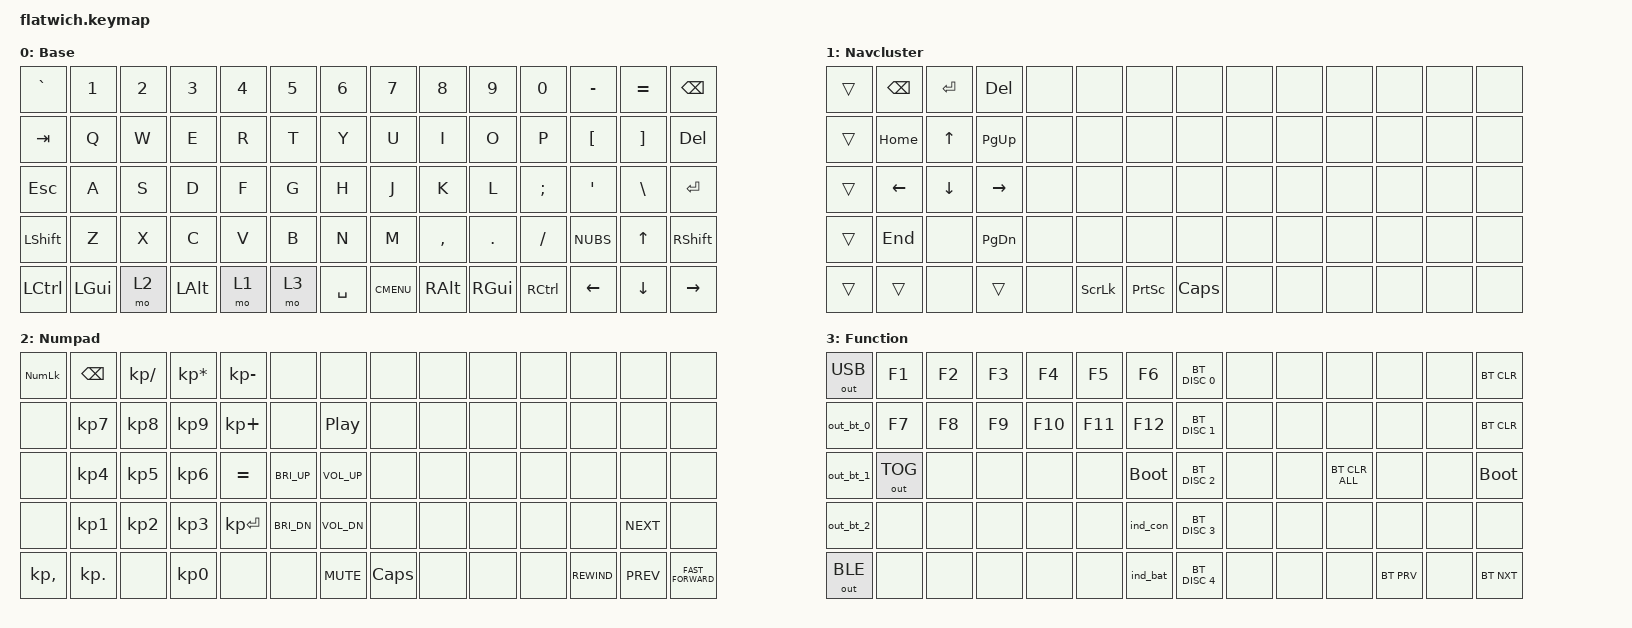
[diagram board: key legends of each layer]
#include <behaviors.dtsi>
#include <behaviors/rgbled_widget.dtsi>
#include <dt-bindings/zmk/keys.h>
#include <dt-bindings/zmk/bt.h>
#include <dt-bindings/zmk/outputs.h>

/ {
    macros {
        out_bt_0: out_bt_0 {
            compatible = "zmk,behavior-macro";
            wait-ms = <0>;
            tap-ms = <0>;
            #binding-cells = <0>;
            bindings = <&out OUT_BLE> , <&bt BT_SEL 0>;
        };
        out_bt_1: out_bt_1 {
            compatible = "zmk,behavior-macro";
            wait-ms = <0>;
            tap-ms = <0>;
            #binding-cells = <0>;
            bindings = <&out OUT_BLE> , <&bt BT_SEL 1>;
        };
        out_bt_2: out_bt_2 {
            compatible = "zmk,behavior-macro";
            wait-ms = <0>;
            tap-ms = <0>;
            #binding-cells = <0>;
            bindings = <&out OUT_BLE>, <&bt BT_SEL 2>;
        };
    };
};

/ {
    keymap {
        compatible = "zmk,keymap";

        default_layer { // Layer 0
            display-name = "Base";
            bindings = <
                &kp GRAVE  &kp N1    &kp N2  &kp N3    &kp N4  &kp N5  &kp N6              &kp N7       &kp N8     &kp N9    &kp N0     &kp MINUS  &kp  EQUAL  &kp BSPC
                &kp TAB    &kp Q     &kp W   &kp E     &kp R   &kp T   &kp Y               &kp U        &kp I      &kp O     &kp P      &kp LBKT   &kp  RBKT   &kp DEL
                &kp ESC    &kp A     &kp S   &kp D     &kp F   &kp G   &kp H               &kp J        &kp K      &kp L     &kp SEMI   &kp APOS   &kp  BSLH   &kp RET
                &kp LSHFT  &kp Z     &kp X   &kp C     &kp V   &kp B   &kp N               &kp M        &kp COMMA  &kp DOT   &kp FSLH   &kp NUBS   &kp  UP     &kp RSHFT
                &kp LCTRL  &kp LGUI  &mo 2   &kp LALT  &mo 1   &mo 3   &kp SPACE           &kp K_CMENU  &kp RALT   &kp RGUI  &kp RCTRL  &kp LEFT   &kp  DOWN   &kp RIGHT
            >;
        };

        navcluster { // Layer 1
            display-name = "Navcluster";
            bindings = <
                &trans  &kp BSPC  &kp RET   &kp DEL    &none  &none     &none             &none     &none  &none  &none  &none  &none  &none
                &trans  &kp HOME  &kp UP    &kp PG_UP  &none  &none     &none             &none     &none  &none  &none  &none  &none  &none
                &trans  &kp LEFT  &kp DOWN  &kp RIGHT  &none  &none     &none             &none     &none  &none  &none  &none  &none  &none
                &trans  &kp END   &none     &kp PG_DN  &none  &none     &none             &none     &none  &none  &none  &none  &none  &none
                &trans  &trans    &none     &trans     &none  &kp SLCK  &kp PSCRN         &kp CAPS  &none  &none  &none  &none  &none  &none
            >;
        };

        numpad { // Layer 2
            display-name = "Numpad";
            bindings = < 
                &kp KP_NLCK   &kp BSPC    &kp KP_SLASH  &kp KP_ASTERISK  &kp KP_MINUS  &none         &none               &none     &none  &none  &none  &none         &none       &none
                &none         &kp KP_N7   &kp KP_N8     &kp KP_N9        &kp KP_PLUS   &none         &kp C_PLAY_PAUSE    &none     &none  &none  &none  &none         &none       &none
                &none         &kp KP_N4   &kp KP_N5     &kp KP_N6        &kp EQUAL     &kp C_BRI_UP  &kp C_VOL_UP        &none     &none  &none  &none  &none         &none       &none
                &none         &kp KP_N1   &kp KP_N2     &kp KP_N3        &kp KP_ENTER  &kp C_BRI_DN  &kp C_VOL_DN        &none     &none  &none  &none  &none         &kp C_NEXT  &none
                &kp KP_COMMA  &kp KP_DOT  &none         &kp KP_N0        &none         &none         &kp C_MUTE          &kp CAPS  &none  &none  &none  &kp C_REWIND  &kp C_PREV  &kp C_FAST_FORWARD
            >;
        };

        funcion { // Layer 3
            display-name = "Function";
            bindings = <
                &out OUT_USB  &kp F1        &kp F2  &kp F3  &kp F4   &kp F5   &kp F6          &bt BT_DISC 0  &none  &none  &none           &none       &none  &bt BT_CLR
                &out_bt_0     &kp F7        &kp F8  &kp F9  &kp F10  &kp F11  &kp F12         &bt BT_DISC 1  &none  &none  &none           &none       &none  &bt BT_CLR
                &out_bt_1     &out OUT_TOG  &none   &none   &none    &none    &bootloader     &bt BT_DISC 2  &none  &none  &bt BT_CLR_ALL  &none       &none  &bootloader
                &out_bt_2     &none         &none   &none   &none    &none    &ind_con        &bt BT_DISC 3  &none  &none  &none           &none       &none  &none
                &out OUT_BLE  &none         &none   &none   &none    &none    &ind_bat        &bt BT_DISC 4  &none  &none  &none           &bt BT_PRV  &none  &bt BT_NXT
            >;
        };
    };
};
